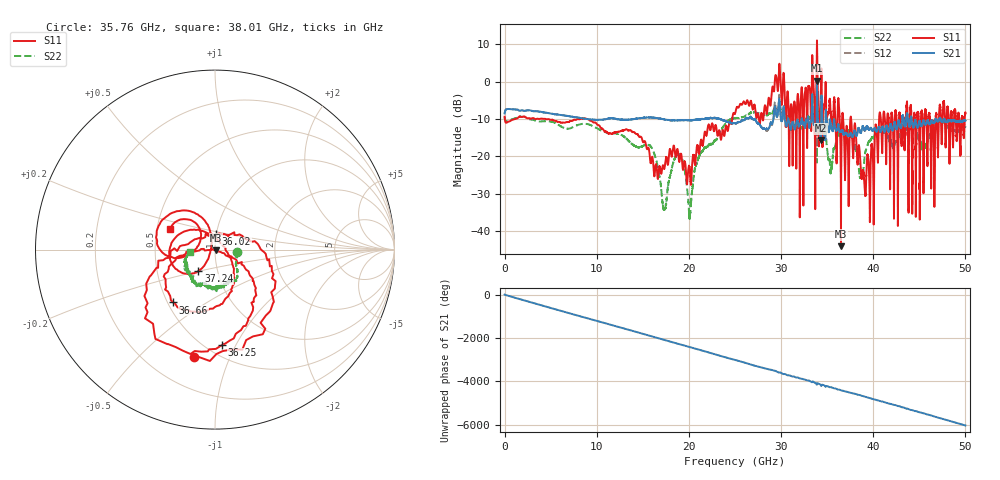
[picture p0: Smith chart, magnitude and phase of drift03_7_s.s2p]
!Created with skrf (http://scikit-rf.org).
# Hz S RI R 50.0
!freq ReS11 ImS11 ReS21 ImS21 ReS12 ImS12 ReS22 ImS22
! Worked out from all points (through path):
!   10001 points, 300 kHz to 50 GHz, reference 50 ohm
!   highest |S21| = 0.27 dB at 33.9 GHz (marker M1); lowest = -15.7 dB at 34.32 GHz (marker M2)
!   group delay of S21, straight-line fit = 335 ps
!   lowest |S11| = -44.1 dB at 36.5 GHz (marker M3), VSWR 1.01, Z = 50.4 - j0.477 ohm
!   |S11| at or under -10 dB: 4.476 GHz to 7.933 GHz (3.457 GHz wide, 55.7 % of centre); 9.002 GHz to 24.7 GHz (15.7 GHz wide, 93.1 % of centre); 37.6 GHz to 40.63 GHz (3.029 GHz wide, 7.74 % of centre) (the widest 3 of 65)
!   |S22| runs from -36.9 to -6.0 dB; largest |S21 - S12| = 0.11
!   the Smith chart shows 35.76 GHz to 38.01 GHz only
!   S11 on the Smith chart (normalised r, x): 35.76 GHz: 0.39, -0.75; 36.02 GHz: 1.00, +0.17; 36.25 GHz: 0.59, -0.88; 36.66 GHz: 0.53, -0.37; 37.24 GHz: 0.81, -0.20; 38.01 GHz: 0.58, +0.14
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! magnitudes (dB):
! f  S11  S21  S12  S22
! 300 kHz  -9.4  -8.5  -8.5  -9.4
! 8.335 GHz  -9.9  -9.8  -9.8  -11.4
! 16.67 GHz  -25.5  -9.8  -9.8  -23.6
! 17.35 GHz  -23.1  -10.1  -10.1  -33.9
! 19.04 GHz  -20.3  -10.4  -10.4  -19.9
! 20.11 GHz  -23.9  -10.3  -10.3  -34.9
! 25 GHz  -8.6  -11.1  -11.1  -9.8
! 29.66 GHz  -2.4  -8.3  -8.4  -7.2
! 31.08 GHz  -6.1  -12.7  -12.7  -10.5
! 33.34 GHz  0.2  -7.7  -7.8  -9.5
! 33.9 GHz  11.0  0.3  -0.2  -21.7
! 34.32 GHz  -2.8  -15.7  -15.0  -11.3
! 35.76 GHz  -4.3  -10.0  -10.4  -18.0
! 36.02 GHz  -21.4  -13.0  -13.1  -15.2
! 36.25 GHz  -5.5  -12.2  -12.3  -14.4
! 36.5 GHz  -44.1  -13.3  -13.2  -13.5
! 36.66 GHz  -8.5  -13.1  -12.9  -12.7
! 37.24 GHz  -16.4  -14.5  -14.5  -13.3
! 38.01 GHz  -11.2  -13.2  -13.3  -17.0
! 38.99 GHz  -25.9  -12.6  -12.8  -22.2
! 41.67 GHz  -10.0  -13.3  -13.3  -14.5
! 50 GHz  -8.4  -10.5  -10.5  -12.0
